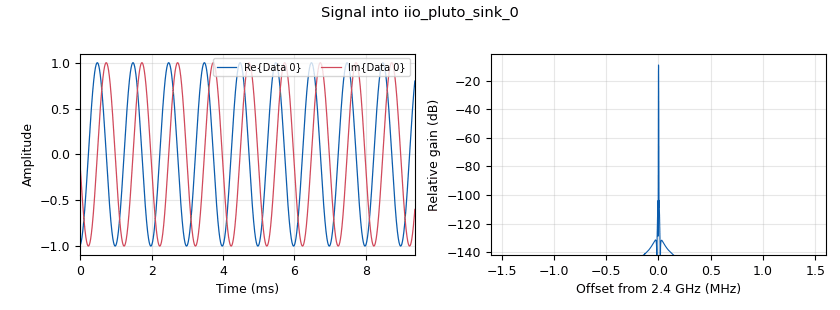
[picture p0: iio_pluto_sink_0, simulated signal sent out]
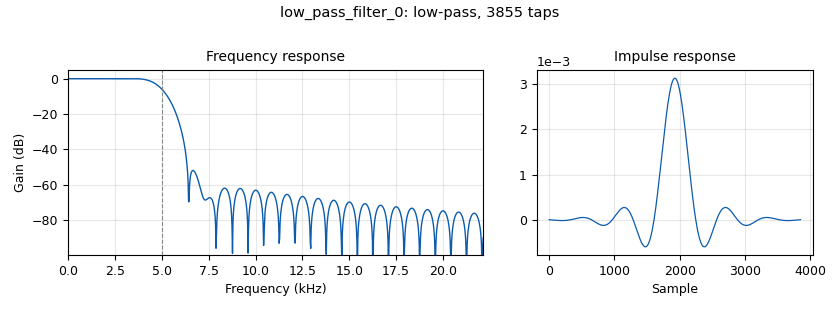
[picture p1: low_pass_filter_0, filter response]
options:
  parameters:
    generate_options: qt_gui
    id: clockSync
    output_language: python
    title: Clock Sync
  states: {}

blocks:
- name: samp_rate
  id: variable
  parameters:
    value: '3200000'
  states: {}
- name: analog_sig_source_x_0
  id: analog_sig_source_x
  parameters:
    amp: '1'
    freq: '1000'
    offset: '0'
    phase: '0'
    samp_rate: samp_rate
    type: complex
    waveform: analog.GR_COS_WAVE
  states: {}
- name: iio_pluto_sink_0
  id: iio_pluto_sink
  parameters:
    attenuation1: '10.0'
    bandwidth: '20000000'
    buffer_size: '32768'
    cyclic: 'False'
    filter_source: '''Auto'''
    frequency: '2400000000'
    samplerate: samp_rate
    type: fc32
    uri: ip:192:164:2:10
  states: {}
- name: iio_pluto_source_0
  id: iio_pluto_source
  parameters:
    bandwidth: '20000000'
    bbdc: 'True'
    buffer_size: '32768'
    filter_source: '''Auto'''
    frequency: '2400000000'
    gain1: '''slow_attack'''
    quadrature: 'True'
    rfdc: 'True'
    samplerate: samp_rate
    type: fc32
    uri: ip:192:168:2:11
  states: {}
- name: iio_pluto_source_0_0
  id: iio_pluto_source
  parameters:
    bandwidth: '20000000'
    bbdc: 'True'
    buffer_size: '32768'
    filter_source: '''Auto'''
    frequency: '2400000000'
    gain1: '''slow_attack'''
    quadrature: 'True'
    rfdc: 'True'
    samplerate: samp_rate
    type: fc32
    uri: ip:192:168:2:12
  states: {}
- name: iio_pluto_source_0_1
  id: iio_pluto_source
  parameters:
    bandwidth: '20000000'
    bbdc: 'True'
    buffer_size: '32768'
    filter_source: '''Auto'''
    frequency: '2400000000'
    gain1: '''slow_attack'''
    quadrature: 'True'
    rfdc: 'True'
    samplerate: samp_rate
    type: fc32
    uri: ip:192:168:2:13
  states: {}
- name: iio_pluto_source_0_2
  id: iio_pluto_source
  parameters:
    bandwidth: '20000000'
    bbdc: 'True'
    buffer_size: '32768'
    filter_source: '''Auto'''
    frequency: '2400000000'
    gain1: '''slow_attack'''
    quadrature: 'True'
    rfdc: 'True'
    samplerate: samp_rate
    type: fc32
    uri: ip:192:168:2:14
  states: {}
- name: low_pass_filter_0
  id: low_pass_filter
  parameters:
    cutoff_freq: '5000'
    decim: '1'
    gain: '1'
    samp_rate: samp_rate
    type: fir_filter_ccf
    width: '2000'
    win: window.WIN_HAMMING
  states: {}
- name: low_pass_filter_0_0
  id: low_pass_filter
  parameters:
    cutoff_freq: '5000'
    decim: '1'
    gain: '1'
    samp_rate: samp_rate
    type: fir_filter_ccf
    width: '2000'
    win: window.WIN_HAMMING
  states: {}
- name: low_pass_filter_0_0_0
  id: low_pass_filter
  parameters:
    cutoff_freq: '5000'
    decim: '1'
    gain: '1'
    samp_rate: samp_rate
    type: fir_filter_ccf
    width: '2000'
    win: window.WIN_HAMMING
  states: {}
- name: low_pass_filter_0_0_1
  id: low_pass_filter
  parameters:
    cutoff_freq: '5000'
    decim: '1'
    gain: '1'
    samp_rate: samp_rate
    type: fir_filter_ccf
    width: '2000'
    win: window.WIN_HAMMING
  states: {}
- name: low_pass_filter_0_0_1_0
  id: low_pass_filter
  parameters:
    cutoff_freq: '5000'
    decim: '1'
    gain: '1'
    samp_rate: samp_rate
    type: fir_filter_ccf
    width: '2000'
    win: window.WIN_HAMMING
  states: {}
- name: qtgui_freq_sink_x_0
  id: qtgui_freq_sink_x
  parameters:
    bw: samp_rate
    fc: '0'
    fftsize: '1024'
    type: complex
  states: {}
- name: qtgui_freq_sink_x_0_0
  id: qtgui_freq_sink_x
  parameters:
    bw: samp_rate
    fc: '0'
    fftsize: '1024'
    type: complex
  states: {}
- name: qtgui_freq_sink_x_0_1
  id: qtgui_freq_sink_x
  parameters:
    bw: samp_rate
    fc: '0'
    fftsize: '1024'
    type: complex
  states: {}
- name: qtgui_freq_sink_x_0_2
  id: qtgui_freq_sink_x
  parameters:
    bw: samp_rate
    fc: '0'
    fftsize: '1024'
    type: complex
  states: {}

connections:
- [analog_sig_source_x_0, '0', low_pass_filter_0, '0']
- [iio_pluto_source_0, '0', low_pass_filter_0_0, '0']
- [iio_pluto_source_0_0, '0', low_pass_filter_0_0_0, '0']
- [iio_pluto_source_0_1, '0', low_pass_filter_0_0_1, '0']
- [iio_pluto_source_0_2, '0', low_pass_filter_0_0_1_0, '0']
- [low_pass_filter_0, '0', iio_pluto_sink_0, '0']
- [low_pass_filter_0_0, '0', qtgui_freq_sink_x_0, '0']
- [low_pass_filter_0_0_0, '0', qtgui_freq_sink_x_0_0, '0']
- [low_pass_filter_0_0_1, '0', qtgui_freq_sink_x_0_1, '0']
- [low_pass_filter_0_0_1_0, '0', qtgui_freq_sink_x_0_2, '0']

metadata:
  file_format: 1
